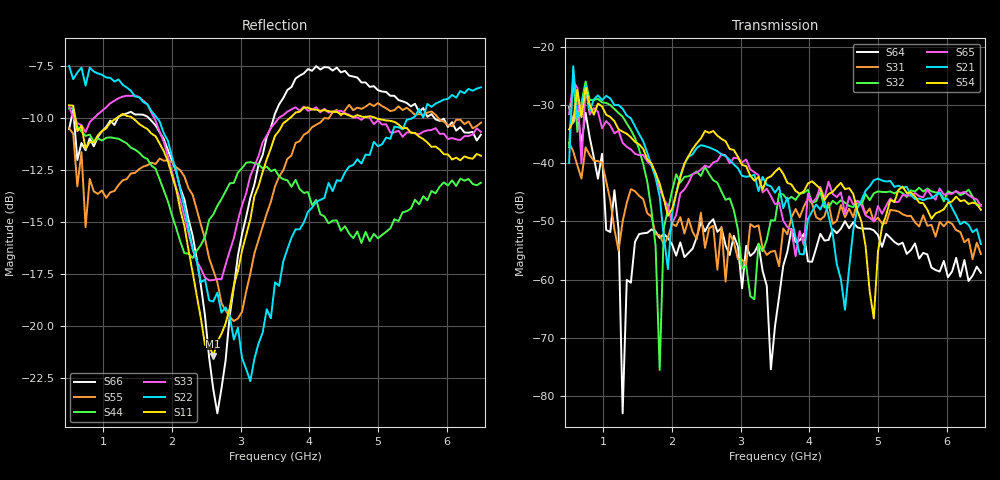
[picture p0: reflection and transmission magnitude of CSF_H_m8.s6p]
!Keysight Technologies,M9804A,MY58100912,A.14.10.03
!Date: Thursday, April 27, 2023 10:28:33
!Correction: S11(C  6-Port  )
!S12(C  6-Port  )
!S13(C  6-Port  )
!S14(C  6-Port  )
!S15(C  6-Port  )
!S16(C  6-Port  )
!S21(C  6-Port  )
!S22(C  6-Port  )
!S23(C  6-Port  )
!S24(C  6-Port  )
!S25(C  6-Port  )
!S26(C  6-Port  )
!S31(C  6-Port  )
!S32(C  6-Port  )
!S33(C  6-Port  )
!S34(C  6-Port  )
!S35(C  6-Port  )
!S36(C  6-Port  )
!S41(C  6-Port  )
!S42(C  6-Port  )
!S43(C  6-Port  )
!S44(C  6-Port  )
!S45(C  6-Port  )
!S46(C  6-Port  )
!S51(C  6-Port  )
!S52(C  6-Port  )
!S53(C  6-Port  )
!S54(C  6-Port  )
!S55(C  6-Port  )
!S56(C  6-Port  )
!S61(C  6-Port  )
!S62(C  6-Port  )
!S63(C  6-Port  )
!S64(C  6-Port  )
!S65(C  6-Port  )
!S66(C  6-Port  )
!S6P File: Measurement: :
# Hz S  RI  R 50
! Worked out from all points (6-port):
!   101 points, 500 MHz to 6.5 GHz, reference 50 ohm
!   strongest paths, dB at 500 MHz, 2 GHz, 3.5 GHz, 5 GHz, 6.5 GHz:
!     S54: -34.2, -47.9, -41.5, -55.3, -48.0
!     S21: -40.0, -48.7, -45.1, -42.7, -53.9
!     S65: -31.6, -50.4, -47.1, -47.4, -47.4
!     S32: -37.3, -44.8, -49.9, -44.9, -47.2
!     S31: -36.5, -50.5, -55.1, -49.4, -55.6
!     S64: -30.4, -54.0, -68.0, -52.3, -58.8
!   lowest |S11| = -21.4 dB at 2.6 GHz (marker M1), VSWR 1.19, Z = 42.5 + j2.15 ohm
!   |S11| at or under -10 dB: 589.4 MHz to 1.191 GHz (601.5 MHz wide, 67.6 % of centre); 1.426 GHz to 3.716 GHz (2.29 GHz wide, 89.1 % of centre); 4.974 GHz to end of sweep
